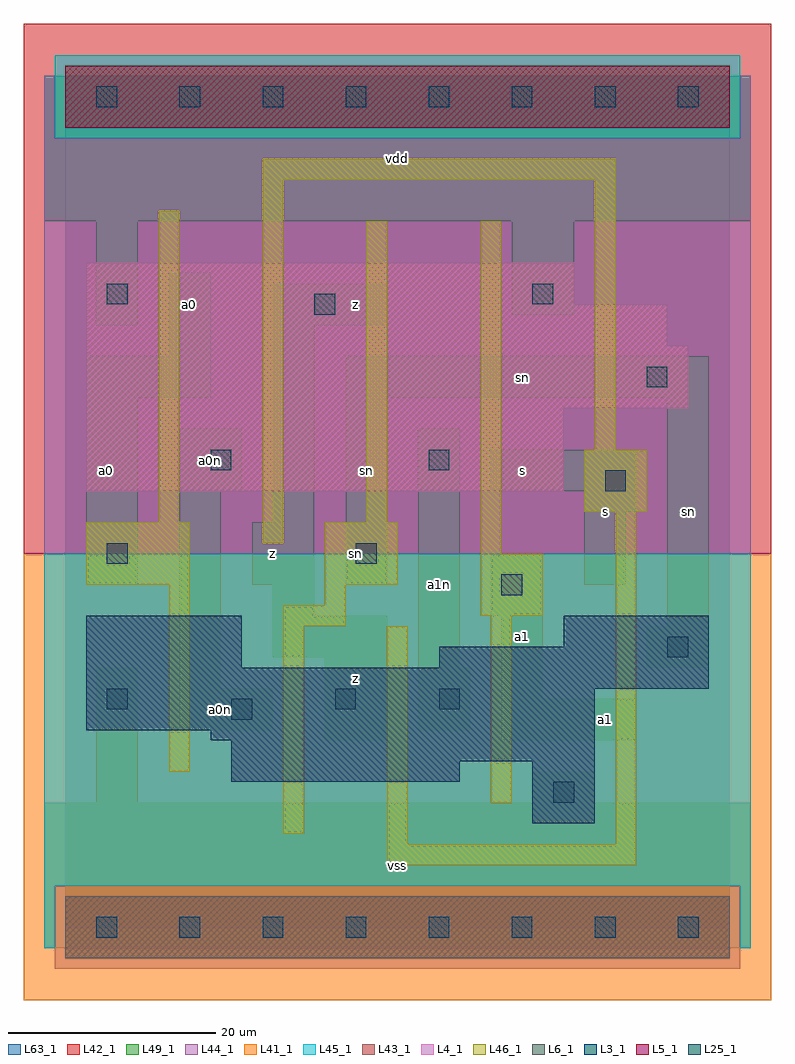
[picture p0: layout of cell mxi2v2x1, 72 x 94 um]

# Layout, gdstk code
import gdstk
lib = gdstk.Library(unit=1e-6, precision=1e-09)
def R(c, l, rs):  # rectangles x0, y0, x1, y1
    for r in rs: c.add(gdstk.rectangle(r[:2], r[2:], *l))
def A(c, l, x, y, w, h, nx, ny, dx, dy):  # array of equal rectangles
    R(c, l, [(x+i*dx, y+j*dy, x+i*dx+w, y+j*dy+h) for i in range(nx) for j in range(ny)])
L3_1 = (3, 1)
L4_1 = (4, 1)
L5_1 = (5, 1)
L6_1 = (6, 1)
L25_1 = (25, 1)
L41_1 = (41, 1)
L42_1 = (42, 1)
L43_1 = (43, 1)
L44_1 = (44, 1)
L45_1 = (45, 1)
L46_1 = (46, 1)
L49_1 = (49, 1)
L63_1 = (63, 1)

mxi2v2x1 = lib.new_cell('mxi2v2x1')
R(mxi2v2x1, L3_1, [(45,10,51,16), (16,14,38,16), (16,16,51,18), (14,18,51,19), (2,19,51,23), (2,23,62,25), (2,25,17,30), (36,25,62,27), (48,27,62,30)])
R(mxi2v2x1, L4_1, [(2,42,48,50), (2,50,60,56), (2,56,58,60), (2,60,49,64)])
R(mxi2v2x1, L5_1, [(0,77,64,83)])
R(mxi2v2x1, L6_1, [(0,-3,64,3), (0,-3,64,3)])
A(mxi2v2x1, L25_1, 3, -1, 2, 2, 8, 2, 8, 80)
R(mxi2v2x1, L25_1, [(47,12,49,14), (16,20,18,22), (4,21,6,23), (26,21,28,23), (36,21,38,23), (58,26,60,28), (42,32,44,34), (4,35,6,37), (28,35,30,37), (52,42,54,44), (14,44,16,46), (35,44,37,46), (56,52,58,54), (24,59,26,61), (4,60,6,62), (45,60,47,62)])
R(mxi2v2x1, L41_1, [(-4,-7,68,36)])
R(mxi2v2x1, L42_1, [(-4,36,68,87)])
R(mxi2v2x1, L43_1, [(0,-3,64,3), (45,10,51,16), (16,14,38,16), (16,16,51,18), (14,18,51,19), (2,19,51,23), (2,23,62,25), (2,25,17,30), (36,25,62,27), (48,27,62,30), (2,42,48,50), (2,50,60,56), (2,56,58,60), (2,60,49,64), (0,77,64,83)])
R(mxi2v2x1, L44_1, [(-1,-4,65,4), (-2,36,66,76), (-2,76,-1,82), (65,76,66,82)])
R(mxi2v2x1, L45_1, [(-2,-2,-1,4), (65,-2,66,4), (-2,4,66,36), (-1,76,65,84)])
R(mxi2v2x1, L46_1, [(31,6,55,8), (31,8,33,29), (53,8,55,40), (21,9,23,29), (41,12,43,30), (10,15,12,33), (21,29,27,31), (40,30,46,36), (25,31,27,33), (2,33,12,39), (25,33,32,39), (40,36,42,68), (19,37,21,72), (9,39,11,69), (29,39,31,68), (50,40,56,46), (51,46,53,72), (19,72,53,74)])
R(mxi2v2x1, L49_1, [(-2,-2,66,12), (3,12,7,25), (45,12,51,15), (25,18,31,26), (42,18,55,22), (11,19,20,23), (34,19,39,25), (42,22,46,30), (11,23,15,42), (34,25,38,48), (56,25,62,29), (20,26,31,30), (58,29,62,51), (20,30,24,33), (41,30,46,36), (2,33,7,51), (18,33,24,39), (27,33,31,51), (50,33,54,40), (20,39,24,58), (50,40,55,42), (11,42,17,48), (41,42,55,46), (2,51,14,55), (27,51,62,55), (10,55,14,63), (3,58,7,68), (20,58,31,62), (43,59,49,68), (-2,68,66,82)])
R(mxi2v2x1, L63_1, [(0,0,64,80)])
mxi2v2x1.add(gdstk.Label('sn', (28,36), layer=49, texttype=1))
mxi2v2x1.add(gdstk.Label('a0', (4,44), layer=49, texttype=1))
mxi2v2x1.add(gdstk.Label('a0n', (15,21), layer=49, texttype=1))
mxi2v2x1.add(gdstk.Label('z', (20,36), layer=49, texttype=1))
mxi2v2x1.add(gdstk.Label('a0n', (14,45), layer=49, texttype=1))
mxi2v2x1.add(gdstk.Label('a0', (12,60), layer=49, texttype=1))
mxi2v2x1.add(gdstk.Label('vss', (32,6), layer=49, texttype=1))
mxi2v2x1.add(gdstk.Label('z', (28,24), layer=49, texttype=1))
mxi2v2x1.add(gdstk.Label('sn', (29,44), layer=49, texttype=1))
mxi2v2x1.add(gdstk.Label('a1n', (36,33), layer=49, texttype=1))
mxi2v2x1.add(gdstk.Label('z', (28,60), layer=49, texttype=1))
mxi2v2x1.add(gdstk.Label('vdd', (32,74), layer=49, texttype=1))
mxi2v2x1.add(gdstk.Label('a1', (44,28), layer=49, texttype=1))
mxi2v2x1.add(gdstk.Label('s', (44,44), layer=49, texttype=1))
mxi2v2x1.add(gdstk.Label('a1', (52,20), layer=49, texttype=1))
mxi2v2x1.add(gdstk.Label('s', (52,40), layer=49, texttype=1))
mxi2v2x1.add(gdstk.Label('sn', (60,40), layer=49, texttype=1))
mxi2v2x1.add(gdstk.Label('sn', (44,53), layer=49, texttype=1))

lib.write_gds('mxi2v2x1.gds')
